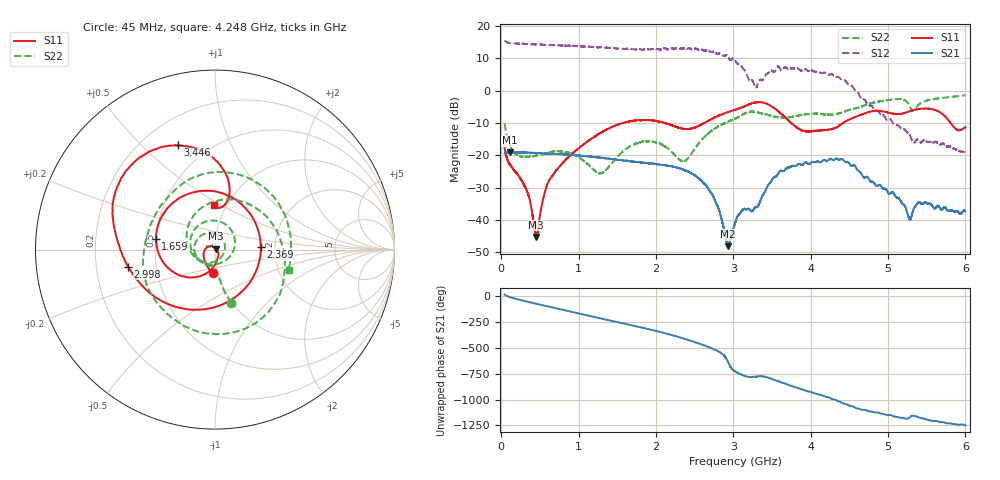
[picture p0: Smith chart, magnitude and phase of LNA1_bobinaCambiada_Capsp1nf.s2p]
!Agilent Technologies,E8364A,US41440144,A.06.04.32
!Agilent E8364A: A.06.04.32
!Date: Thursday, November 08, 2018 15:45:00
!Correction: S11(Full 2 Port(1,2)) S21(Full 2 Port(1,2)) S12(Full 2 Port(1,2)) S22(Full 2 Port(1,2))
!S2P File: Measurements: S11, S21, S12, S22:
# Hz S  dB  R 50
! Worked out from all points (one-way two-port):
!   16001 points, 45 MHz to 6 GHz, reference 50 ohm
!   highest |S21| = -19.06 dB at 113.1 MHz (marker M1); lowest = -48.1 dB at 2.933 GHz (marker M2)
!   lowest |S11| = -45.2 dB at 452.5 MHz (marker M3), VSWR 1.01, Z = 50.3 + j0.471 ohm
!   |S11| at or under -10 dB: start of sweep to 1.575 GHz; 2.114 GHz to 2.625 GHz (511.3 MHz wide, 21.6 % of centre); 3.749 GHz to 4.419 GHz (670.1 MHz wide, 16.4 % of centre)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
!   |S22| runs from -25.6 to -1.5 dB; largest |S21 - S12| = 6
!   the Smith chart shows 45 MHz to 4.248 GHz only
!   S11 on the Smith chart (normalised r, x): 45 MHz: 0.95, -0.25; 1.659 GHz: 0.50, +0.07; 2.369 GHz: 1.68, +0.06; 2.998 GHz: 0.34, -0.09; 3.446 GHz: 0.35, +0.65; 4.248 GHz: 0.87, +0.46
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4.5e7  -17.73 -94.5  -19.43 14.8  15.47 163.8  -10.18 -73.2
1.131103e8  -22.79 -151.0  -19.06 -10.0  14.68 154.7  -16.87 -83.1
4.525453e8  -45.21 58.6  -19.26 -74.0  14.24 92.5  -20.06 -129.9
7.778372e8  -22.81 -85.0  -19.66 -129.5  13.98 31.5  -18.79 157.2
1.037624e9  -17.14 -109.6  -20.16 -173.8  13.66 -17.8  -21.18 84.8
1.34319e9  -12.27 -143.7  -20.91 134.8  13.25 -75.8  -24.82 -65.1
1.658805e9  -9.50 170.0  -21.82 81.8  12.85 -134.8  -17.33 174.8
1.872068e9  -9.11 133.4  -22.35 46.1  12.92 -173.9  -15.72 116.5
2.030248e9  -9.51 101.4  -22.76 17.5  12.82 155.3  -16.21 72.6
2.369311e9  -11.86 3.6  -24.57 -52.8  12.95 85.3  -21.78 -84.7
2.670411e9  -9.43 -100.5  -30.00 -130.7  12.46 16.9  -13.35 128.0
2.933175e9  -6.66 -158.3  -48.06 80.5  10.41 -49.1  -9.62 40.1
2.997936e9  -6.11 -169.0  -42.92 5.2  9.94 -60.1  -8.92 17.9
3.0225e9  -5.92 -172.9  -40.98 -6.5  9.33 -70.4  -8.70 9.2
3.283031e9  -3.69 143.5  -36.09 -59.2  1.05 -100.8  -6.59 -98.0
3.445677e9  -4.21 109.5  -29.38 -67.3  5.28 -103.2  -7.43 -156.0
3.692065e9  -8.76 77.3  -23.92 -131.7  6.94 -162.8  -8.26 145.4
4.015124e9  -12.53 87.3  -22.09 150.4  6.24 125.1  -7.14 67.7
4.247741e9  -12.02 91.7  -21.09 95.5  4.91 70.4  -7.43 -15.7
4.602064e9  -7.90 83.2  -24.42 -6.3  -0.28 -24.9  -5.38 -163.9
5.007748e9  -6.83 43.9  -31.78 -70.9  -9.14 -82.4  -2.90 110.0
6e9  -11.30 -9.1  -37.30 -170.3  -19.30 165.7  -1.47 15.4
